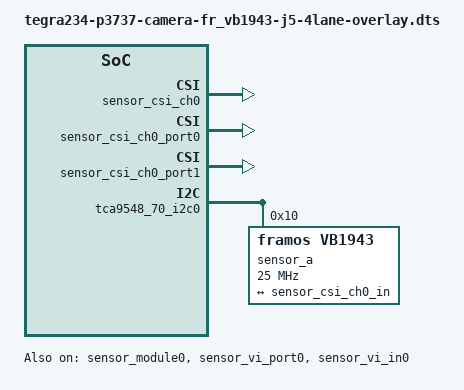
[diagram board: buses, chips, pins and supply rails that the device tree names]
// SPDX-License-Identifier: GPL-2.0
/*
 * Copyright (c) 2026 Framos. All rights reserved.
 *
 * tegra234-p3737-camera-fr_vb1943-j5-4lane-overlay.dts - VB1943 sensor device tree
 */

/dts-v1/;
/plugin/;

#include <dt-bindings/clock/tegra234-clock.h>
#include <dt-bindings/gpio/tegra234-gpio.h>
#include <dt-bindings/tegra234-p3737-0000+p3701-0000.h>


/ {
	overlay-name = "Framos VB1943-J5-4Lane";
	jetson-header-name = "Jetson AGX CSI Connector";
	compatible = JETSON_COMPATIBLE;

	fragment@0 {
		target = <&sensor_module0>;
		__overlay__ {
			status = "okay";
			badge = "vb1943_bottomleft_framos";
			drivernode0 {
				status = "okay";
				/* Declare PCL support driver (classically known as guid) */
				devname = "vb1943 9-0010";
				/* Declare the device-tree hierarchy to driver instance */
				sysfs-device-tree = "/sys/firmware/devicetree/base/bus@0/i2c@3180000/tca9548@70/i2c@0/vb1943_a@10";
			};
		};
	};

	fragment@1 {
		target = <&sensor_vi_port0>;
		__overlay__ {
			status = "okay";
		};
	};

	fragment@2 {
		target = <&sensor_vi_in0>;
		__overlay__ {
			status = "okay";
			bus-width = <4>;
		};
	};

	fragment@3 {
		target = <&sensor_csi_ch0>;
		__overlay__ {
			status = "okay";
			ports {
				status = "okay";
			};
		};
	};

	fragment@4 {
		target = <&sensor_csi_ch0_port0>;
		__overlay__ {
			status = "okay";
		};
	};

	fragment@5 {
		target = <&sensor_csi_ch0_in>;
		__overlay__ {
			status = "okay";
			bus-width = <4>;
			remote-endpoint = <&sensor_out_a>;
		};
	};

	fragment@6 {
		target = <&sensor_csi_ch0_port1>;
		__overlay__ {
			status = "okay";
		};
	};

	fragment@7 {
		target = <&sensor_csi_ch0_out>;
		__overlay__ {
			status = "okay";
		};
	};

	fragment@8 {
		target = <&tca9548_70_i2c0>;
		__overlay__ {
			sensor_a: vb1943_a@10 {
				compatible = "framos,vb1943";
				reg = <0x10>;

				/* Define any required hw resources needed by driver */
				/* ie. clocks, io pins, power sources */
				clocks = <&bpmp TEGRA234_CLK_EXTPERIPH1>, <&bpmp TEGRA234_CLK_EXTPERIPH1>;
				clock-names = "extperiph1", "pllp_grtba";
				mclk = "extperiph1";
				clock-frequency = <25000000>;

				devnode = "video0";

				physical_w = "8.90";
				physical_h = "10.30";

				sensor_model ="vb1943";

				/* Defines number of frames to be dropped by driver internally after applying */
				/* sensor crop settings. Some sensors send corrupt frames after applying */
				/* crop co-ordinates */
				post_crop_frame_drop = "0";

				/* Convert Gain to unit of dB (decibel) befor passing to kernel driver */
				use_decibel_gain = "false";

				/* if true, delay gain setting by one frame to be in sync with exposure */
				delayed_gain = "false";

				/* enable CID_SENSOR_MODE_ID for sensor modes selection */
				use_sensor_mode_id = "false";

				mode0 {
					mclk_khz = "25000";
					num_lanes = "4";
					tegra_sinterface = "serial_a";
					vc_id = "0";
					phy_mode = "DPHY";
					discontinuous_clk = "no";
					dpcm_enable = "false";
					cil_settletime = "0";
					active_w = "2560";
					active_h = "1984";

					dynamic_pixel_bit_depth = "10";
					csi_pixel_bit_depth = "10";
					mode_type = "bayer";
					pixel_phase = "gbrg";

					readout_orientation = "0";
					line_length = "7000";
					inherent_gain = "1";
					pix_clk_hz = "600000000";
					serdes_pix_clk_hz = "12000000000"; /* GMSL predefine */

					gain_factor = "100";
					min_gain_val = "100"; /* 1x */
					max_gain_val = "400"; /* 4x */
					step_gain_val = "1"; /* 0.01x */
					default_gain = "100";
					min_hdr_ratio = "1";
					max_hdr_ratio = "64";
					framerate_factor = "1000000";
					min_framerate = "1500000"; /* 1.5 */
					max_framerate = "100000000"; /* 100 */
					step_framerate = "1";
					default_framerate= "100000000";
					exposure_factor = "1000000";
					min_exp_time = "36"; /* us */
					max_exp_time = "660000"; /* us */
					step_exp_time = "1";
					default_exp_time = "10000";/* us */
					embedded_metadata_height = "0";
				};
				mode1 {
					mclk_khz = "25000";
					num_lanes = "4";
					tegra_sinterface = "serial_a";
					vc_id = "0";
					phy_mode = "DPHY";
					discontinuous_clk = "no";
					dpcm_enable = "false";
					cil_settletime = "0";
					active_w = "2064";
					active_h = "1552";

					dynamic_pixel_bit_depth = "10";
					csi_pixel_bit_depth = "10";
					mode_type = "bayer";
					pixel_phase = "gbrg";

					readout_orientation = "0";
					line_length = "7000";
					inherent_gain = "1";
					pix_clk_hz = "600000000";
					serdes_pix_clk_hz = "12000000000"; /* GMSL predefine */

					gain_factor = "100";
					min_gain_val = "100"; /* 1x */
					max_gain_val = "400"; /* 4x */
					step_gain_val = "1"; /* 0.01x */
					default_gain = "100";
					min_hdr_ratio = "1";
					max_hdr_ratio = "64";
					framerate_factor = "1000000";
					min_framerate = "1500000"; /* 1.5 */
					max_framerate = "100000000"; /* 100 */
					step_framerate = "1";
					default_framerate= "100000000";
					exposure_factor = "1000000";
					min_exp_time = "36"; /* us */
					max_exp_time = "660000"; /* us */
					step_exp_time = "1";
					default_exp_time = "10000";/* us */
					embedded_metadata_height = "0";
				};
				mode2 {
					mclk_khz = "25000";
					num_lanes = "4";
					tegra_sinterface = "serial_a";
					vc_id = "0";
					phy_mode = "DPHY";
					discontinuous_clk = "no";
					dpcm_enable = "false";
					cil_settletime = "0";
					active_w = "1920";
					active_h = "1080";

					dynamic_pixel_bit_depth = "10";
					csi_pixel_bit_depth = "10";
					mode_type = "bayer";
					pixel_phase = "gbrg";

					readout_orientation = "0";
					line_length = "7000";
					inherent_gain = "1";
					pix_clk_hz = "600000000";
					serdes_pix_clk_hz = "12000000000"; /* GMSL predefine */

					gain_factor = "100";
					min_gain_val = "100"; /* 1x */
					max_gain_val = "400"; /* 4x */
					step_gain_val = "1"; /* 0.01x */
					default_gain = "100";
					min_hdr_ratio = "1";
					max_hdr_ratio = "64";
					framerate_factor = "1000000";
					min_framerate = "1500000"; /* 1.5 */
					max_framerate = "100000000"; /* 100 */
					step_framerate = "1";
					default_framerate= "100000000";
					exposure_factor = "1000000";
					min_exp_time = "36"; /* us */
					max_exp_time = "660000"; /* us */
					step_exp_time = "1";
					default_exp_time = "10000";/* us */
					embedded_metadata_height = "0";
				};
				mode3 {
					mclk_khz = "25000";
					num_lanes = "4";
					tegra_sinterface = "serial_a";
					vc_id = "0";
					phy_mode = "DPHY";
					discontinuous_clk = "no";
					dpcm_enable = "false";
					cil_settletime = "0";
					active_w = "2560";
					active_h = "1984";

					dynamic_pixel_bit_depth = "12";
					csi_pixel_bit_depth = "12";
					mode_type = "bayer";
					pixel_phase = "gbrg";

					readout_orientation = "0";
					line_length = "7000";
					inherent_gain = "1";
					pix_clk_hz = "500000000";
					serdes_pix_clk_hz = "12000000000"; /* GMSL predefine */

					gain_factor = "100";
					min_gain_val = "100"; /* 1x */
					max_gain_val = "400"; /* 4x */
					step_gain_val = "1"; /* 0.01x */
					default_gain = "100";
					min_hdr_ratio = "1";
					max_hdr_ratio = "64";
					framerate_factor = "1000000";
					min_framerate = "1500000"; /* 1.5 */
					max_framerate = "50000000"; /* 50 */
					step_framerate = "1";
					default_framerate= "50000000";
					exposure_factor = "1000000";
					min_exp_time = "36"; /* us */
					max_exp_time = "660000"; /* us */
					step_exp_time = "1";
					default_exp_time = "10000";/* us */
					embedded_metadata_height = "0";
				};
				mode4 {
					mclk_khz = "25000";
					num_lanes = "4";
					tegra_sinterface = "serial_a";
					vc_id = "0";
					phy_mode = "DPHY";
					discontinuous_clk = "no";
					dpcm_enable = "false";
					cil_settletime = "0";
					active_w = "2064";
					active_h = "1552";

					dynamic_pixel_bit_depth = "12";
					csi_pixel_bit_depth = "12";
					mode_type = "bayer";
					pixel_phase = "gbrg";

					readout_orientation = "0";
					line_length = "7000";
					inherent_gain = "1";
					pix_clk_hz = "500000000";
					serdes_pix_clk_hz = "12000000000"; /* GMSL predefine */

					gain_factor = "100";
					min_gain_val = "100"; /* 1x */
					max_gain_val = "400"; /* 4x */
					step_gain_val = "1"; /* 0.01x */
					default_gain = "100";
					min_hdr_ratio = "1";
					max_hdr_ratio = "64";
					framerate_factor = "1000000";
					min_framerate = "1500000"; /* 1.5 */
					max_framerate = "50000000"; /* 50 */
					step_framerate = "1";
					default_framerate= "50000000";
					exposure_factor = "1000000";
					min_exp_time = "36"; /* us */
					max_exp_time = "660000"; /* us */
					step_exp_time = "1";
					default_exp_time = "10000";/* us */
					embedded_metadata_height = "0";
				};
				mode5 {
					mclk_khz = "25000";
					num_lanes = "4";
					tegra_sinterface = "serial_a";
					vc_id = "0";
					phy_mode = "DPHY";
					discontinuous_clk = "no";
					dpcm_enable = "false";
					cil_settletime = "0";
					active_w = "1920";
					active_h = "1080";

					dynamic_pixel_bit_depth = "12";
					csi_pixel_bit_depth = "12";
					mode_type = "bayer";
					pixel_phase = "gbrg";

					readout_orientation = "0";
					line_length = "7000";
					inherent_gain = "1";
					pix_clk_hz = "500000000";
					serdes_pix_clk_hz = "12000000000"; /* GMSL predefine */

					gain_factor = "100";
					min_gain_val = "100"; /* 1x */
					max_gain_val = "400"; /* 4x */
					step_gain_val = "1"; /* 0.01x */
					default_gain = "100";
					min_hdr_ratio = "1";
					max_hdr_ratio = "64";
					framerate_factor = "1000000";
					min_framerate = "1500000"; /* 1.5 */
					max_framerate = "50000000"; /* 50 */
					step_framerate = "1";
					default_framerate= "50000000";
					exposure_factor = "1000000";
					min_exp_time = "36"; /* us */
					max_exp_time = "660000"; /* us */
					step_exp_time = "1";
					default_exp_time = "10000";/* us */
					embedded_metadata_height = "0";
				};
				ports {
					#address-cells = <1>;
					#size-cells = <0>;
					port@0 {
						reg = <0>;
						sensor_out_a: endpoint {
							vc-id = <0>;
							port-index = <0>;
							bus-width = <4>;
							remote-endpoint = <&sensor_csi_ch0_in>;
						};
					};
				};
			};
		};
	};
};
